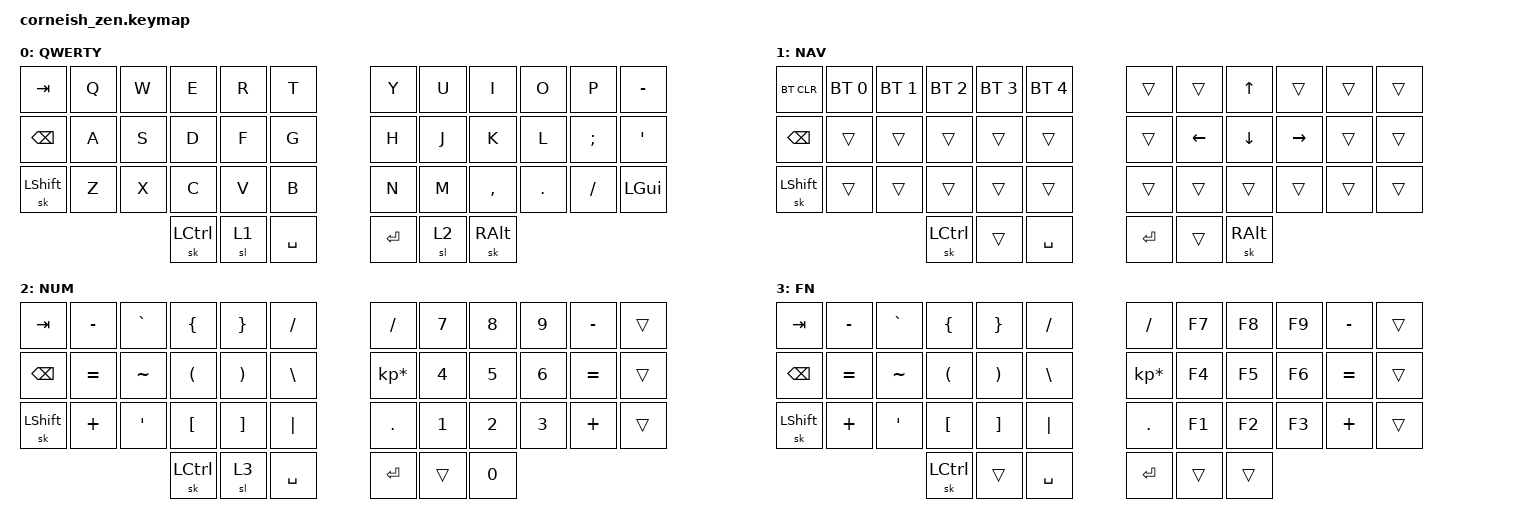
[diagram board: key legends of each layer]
#include <behaviors.dtsi>
#include <dt-bindings/zmk/keys.h>
#include <dt-bindings/zmk/bt.h>

/ {
  chosen {
    zmk,matrix_transform = &default_transform;
    //zmk,matrix_transform = &five_column_transform;
  };
};


#define QWERTY 0
#define NAV    1
#define NUM    2
#define FN     3


/ {
        keymap {
                compatible = "zmk,keymap";

                default_layer {
                        label = "QWERTY";
// -----------------------------------------------------------------------------------------
// |  TAB |  Q  |  W  |  E  |  R  |  T  |   |  Y  |  U   |  I  |  O  |  P  | -    |
// | BKSP |  A  |  S  |  D  |  F  |  G  |   |  H  |  J   |  K  |  L  |  ;  |  '   |
// | SHFT |  Z  |  X  |  C  |  V  |  B  |   |  N  |  M   |  ,  |  .  |  /  | GUI  |
//                    |CTRL | LWR | SPC |   | ENT | RSE  | ALT |
                        bindings = <
   &kp TAB   &kp Q &kp W &kp E &kp R      &kp T   &kp Y       &kp U   &kp I     &kp O    &kp P    &kp MINUS
   &kp BSPC  &kp A &kp S &kp D &kp F      &kp G   &kp H       &kp J   &kp K     &kp L    &kp SEMI &kp SQT
   &sk LSHFT &kp Z &kp X &kp C &kp V      &kp B   &kp N       &kp M   &kp COMMA &kp DOT  &kp FSLH &kp LGUI
                               &sk LCTRL  &sl 1   &kp SPACE   &kp RET &sl 2     &sk RALT
                        >;
                };

                nav_layer {
                        label = "NAV";
// -----------------------------------------------------------------------------------------
// | BTCLR| BT1 | BT2 | BT3 | BT4 | BT5 |   |     |     |  UP |     |     |      |
// | BKSP |     |     |     |     |     |   |     | LFT | DWN | RGT |     |      |
// | SHFT |     |     |     |     |     |   |     |     |     |     |     |      |
//                    |CTRL |     | SPC |   | ENT |     | ALT |
                        bindings = <
   &bt BT_CLR &bt BT_SEL 0 &bt BT_SEL 1 &bt BT_SEL 2 &bt BT_SEL 3 &bt BT_SEL 4   &trans   &trans     &kp UP     &trans     &trans   &trans
   &kp BSPC   &trans       &trans       &trans       &trans       &trans         &trans   &kp LEFT   &kp DOWN   &kp RIGHT  &trans   &trans
   &sk LSHFT  &trans       &trans       &trans       &trans       &trans         &trans   &trans     &trans     &trans     &trans   &trans
                          	        &sk LCTRL    &trans       &kp SPACE      &kp RET  &trans     &sk RALT
                        >;
                };

                num_layer {
                        label = "NUM";
// -----------------------------------------------------------------------------------------
// |  TAB | -  |  `  |  {  |  }  |  /  |   |  /  |  7  |  8  |  9  |  -  |      |
// | BKSP | =  |  ~  |  (  |  )  |  \  |   |  *  |  4  |  5  |  6  |  =  |      |
// | SHFT | +  |  '  |  [  |  ]  |  |  |   |  .  |  1  |  2  |  3  |  +  |      |
//                   |CTRL |     | SPC |   | ENT |     |  0  |
                        bindings = <
   &kp TAB    &kp MINUS  &kp GRAVE  &kp LBRC  &kp RBRC   &kp FSLH  &kp FSLH        &kp N7  &kp N8  &kp N9  &kp MINUS  &trans
   &kp BSPC   &kp EQUAL  &kp TILDE  &kp LPAR  &kp RPAR   &kp BSLH  &kp KP_MULTIPLY &kp N4  &kp N5  &kp N6  &kp EQUAL  &trans
   &sk LSHFT  &kp PLUS   &kp SQT    &kp LBKT  &kp RBKT   &kp PIPE  &kp DOT         &kp N1  &kp N2  &kp N3  &kp PLUS   &trans
                    	 &sk LCTRL  &sl 3     &kp SPACE  &kp RET   &trans          &kp N0 
                        >;
                };

                fn_layer {
                        label = "FN";
// -----------------------------------------------------------------------------------------
// |  TAB | -  |  `  |  {  |  }  |  /  |   |  /  | F7  | F8  | F9  |  -  |      |
// | BKSP | =  |  ~  |  (  |  )  |  \  |   |  *  | F4  | F5  | F6  |  =  |      |
// | SHFT | +  |  '  |  [  |  ]  |  |  |   |  .  | F1  | F2  | F3  |  +  |      |
//                   |CTRL |     | SPC |   | ENT |     |     |
                        bindings = <
   &kp TAB    &kp MINUS  &kp GRAVE  &kp LBRC  &kp RBRC   &kp FSLH  &kp FSLH        &kp F7  &kp F8  &kp F9  &kp MINUS  &trans
   &kp BSPC   &kp EQUAL  &kp TILDE  &kp LPAR  &kp RPAR   &kp BSLH  &kp KP_MULTIPLY &kp F4  &kp F5  &kp F6  &kp EQUAL  &trans
   &sk LSHFT  &kp PLUS   &kp SQT    &kp LBKT  &kp RBKT   &kp PIPE  &kp DOT         &kp F1  &kp F2  &kp F3  &kp PLUS   &trans
                    	 &sk LCTRL  &trans    &kp SPACE  &kp RET   &trans          &trans  
                        >;
                };
        };
};
